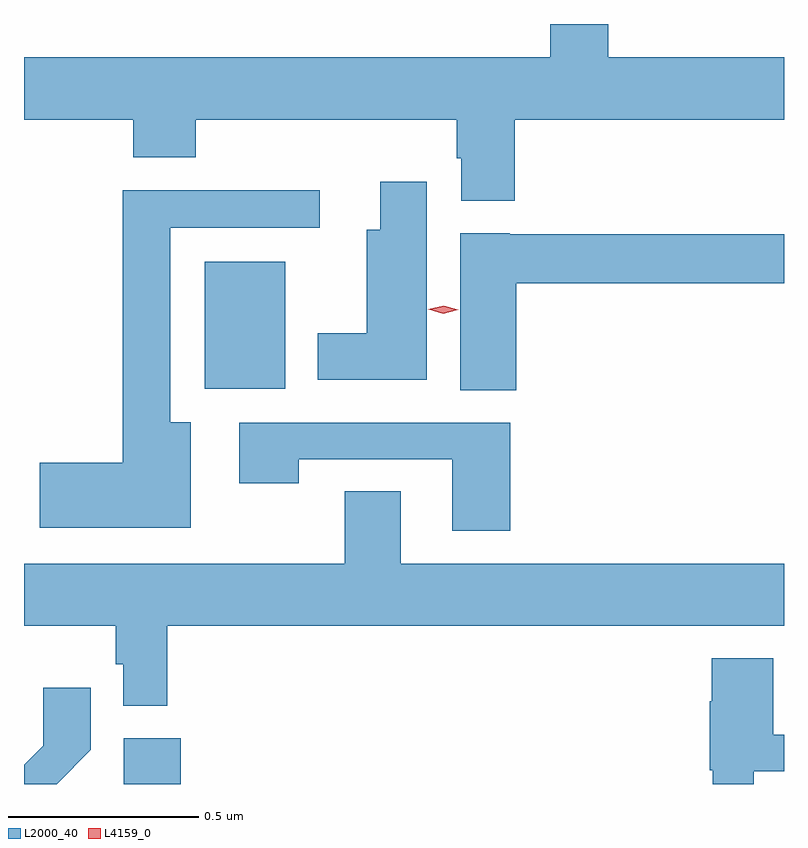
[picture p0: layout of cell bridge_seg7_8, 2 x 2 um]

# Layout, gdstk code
import gdstk
lib = gdstk.Library(unit=1e-6, precision=1e-09)
def R(c, l, rs):  # rectangles x0, y0, x1, y1
    for r in rs: c.add(gdstk.rectangle(r[:2], r[2:], *l))
def P(c, l, *ps):  # polygons
    for p in ps: c.add(gdstk.Polygon(p, *l))
L2000_40 = (2000, 40)
L4159_0 = (4159, 0)

bridge_seg7_8 = lib.new_cell('bridge_seg7_8')
R(bridge_seg7_8, L2000_40, [(1023.383,1053.48,1023.533,1053.601), (1023.596,1054.52,1023.808,1054.855)])
P(bridge_seg7_8, L2000_40, [(1024.412,1055.228),(1025.12,1055.228),(1025.12,1055.392),(1024.657,1055.392),(1024.657,1055.48),(1024.505,1055.48),(1024.505,1055.392),(1023.12,1055.392),(1023.12,1055.228),(1023.407,1055.228),(1023.407,1055.129),(1023.572,1055.129),(1023.572,1055.228),(1024.259,1055.228),(1024.259,1055.127),(1024.271,1055.127),(1024.271,1055.015),(1024.412,1055.015)],
  [(1024.18,1055.065),(1024.058,1055.065),(1024.058,1054.939),(1024.022,1054.939),(1024.022,1054.666),(1023.893,1054.666),(1023.893,1054.544),(1024.18,1054.544)],
  [(1023.559,1054.432),(1023.505,1054.432),(1023.505,1054.944),(1023.898,1054.944),(1023.898,1055.042),(1023.38,1055.042),(1023.38,1054.325),(1023.162,1054.325),(1023.162,1054.154),(1023.559,1054.154)],
  [(1024.415,1054.798),(1025.12,1054.798),(1025.12,1054.927),(1024.398,1054.927),(1024.398,1054.93),(1024.268,1054.93),(1024.268,1054.516),(1024.415,1054.516)],
  [(1024.4,1054.431),(1023.687,1054.431),(1023.687,1054.272),(1023.843,1054.272),(1023.843,1054.335),(1024.247,1054.335),(1024.247,1054.146),(1024.4,1054.146)],
  [(1023.497,1053.896),(1025.12,1053.896),(1025.12,1054.06),(1024.111,1054.06),(1024.111,1054.25),(1023.964,1054.25),(1023.964,1054.06),(1023.12,1054.06),(1023.12,1053.896),(1023.361,1053.896),(1023.361,1053.795),(1023.381,1053.795),(1023.381,1053.686),(1023.497,1053.686)],
  [(1025.04,1053.513),(1025.12,1053.513),(1025.12,1053.609),(1025.092,1053.609),(1025.092,1053.811),(1024.93,1053.811),(1024.93,1053.698),(1024.924,1053.698),(1024.924,1053.516),(1024.932,1053.516),(1024.932,1053.48),(1025.04,1053.48)],
  [(1023.296,1053.57),(1023.296,1053.733),(1023.171,1053.733),(1023.171,1053.581),(1023.12,1053.531),(1023.12,1053.48),(1023.206,1053.48)])
P(bridge_seg7_8, L4159_0, [(1024.223,1054.718),(1024.184,1054.729),(1024.184,1054.729),(1024.184,1054.729),(1024.224,1054.738),(1024.263,1054.728),(1024.263,1054.728),(1024.263,1054.728)])

lib.write_gds('bridge_seg7_8.gds')
